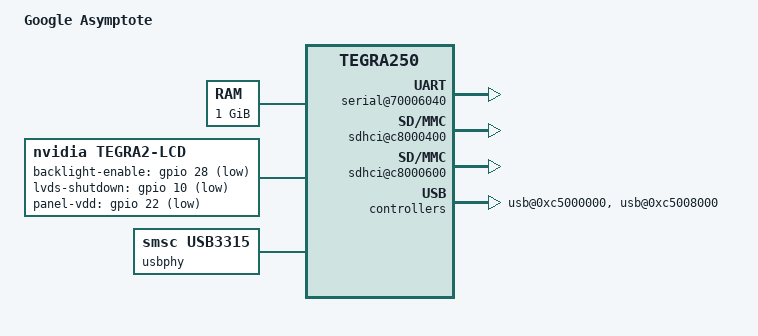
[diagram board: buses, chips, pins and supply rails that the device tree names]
/dts-v1/;

/memreserve/ 0x1c000000 0x04000000;
/include/ "tegra250.dtsi"
/include/ "chromeos.dtsi"
/include/ "flashmap-twostop-4mb.dtsi"

/ {
	model = "Google Asymptote";
	compatible = "google,asymptote", "nvidia,tegra250";

	config {
		odmdata = <0x300d8011>;
		hwid = "ARM ASYMPTOTE TEST 8314";
		machine-arch-id = <3624>;

		/* Chrome OS specific GPIO port number */
		gpio_port_write_protect_switch	= <59>;
		gpio_port_recovery_switch	= <56>;
		gpio_port_developer_switch	= <168>;

		/* GPIO polarity: 0=active_low, 1=active_high */
		polarity_write_protect_switch	= <1>;
		polarity_recovery_switch	= <0>;
		polarity_developer_switch	= <1>;
	};

	aliases {
		console = "/serial@70006040";
                usb0 = "/usb@0xc5008000";
                usb1 = "/usb@0xc5000000";

		sdmmc0 = "/sdhci@c8000600";
		sdmmc1 = "/sdhci@c8000400";

		i2c0 = "/i2c@0x7000d000";
		i2c1 = "/i2c@0x7000c000";
		i2c2 = "/i2c@0x7000c400";
		i2c3 = "/i2c@0x7000c500";
	};

	memory {
		device_type = "memory";
		reg = <0x00000000 0x40000000>;
	};

	serial@70006040 {
		status = "ok";
		clock-frequency = <216000000>;
	};

	sdhci@c8000400 {
		status = "ok";
		width = <4>;	/* width of SDIO port */
		removable = <1>;
		/* Parameter 3 bit 0:1=output, 0=input; bit 1:1=high, 0=low */
		cd-gpio = <&gpio 69 0>; /* card detect, gpio PI5 */
		wp-gpio = <&gpio 57 0>; /* write protect, gpio PH1 */
		power-gpio = <&gpio 70 3>; /* power enable, gpio PI6 */
	};

	sdhci@c8000600 {
		status = "ok";
		width = <4>;	/* width of SDIO port */
		removable = <0>;
	};

	lcd {
		compatible = "nvidia,tegra2-lcd";
		width = <1024>;
		height = <768>;
		bits_per_pixel = <16>;
		pwfm = <&pwfm2>;
		display = <&display1>;
                /* frame-buffer location = top of memory - carveout - fb */
                frame-buffer = <0x2f680000>;

		pixel_clock = <100030000>;

		/* Timing: ref_to_sync, sync_width. back_porch, front_porch */
		horiz_timing = <11 320 480 260>;
		vert_timing = <1 10 6 16>;

		/* Parameter 3 bit 0:1=output, 0=input; bit 1:1=high, 0=low */
		backlight-enable = <&gpio 28 1>;	/* PD4 */
		lvds-shutdown = <&gpio 10 1>;		/* PB2 */
		/* Asymptote does not have backlight-vdd */
		panel-vdd = <&gpio 22 1>;		/* PC6 */

		/*
		 * Panel required timings
		 * Timing 1: delay between panel_vdd-rise and data-rise
		 * Timing 2: delay between data-rise and backlight_vdd-rise
		 * Timing 3: delay between backlight_vdd and pwm-rise
		 * Timing 4: delay between pwm-rise and backlight_en-rise
		 */
		panel-timings = <0 0 0 0>;
	};

	usb@0xc5000000 {
		status = "ok";
		host-mode = <1>;
	};

	usbphy: usbphy@0 {
		compatible = "smsc,usb3315";
		status = "ok";
	};

	usb@0xc5008000 {
		status = "ok";
		utmi = <&usbphy>;
		host-mode = <0>;
	};

	/*
	 * Custom mappings for asymptote (to make up for lack of keyboard):
	 *	- Volume Up -> Ctrl+D
	 *	- Volume Dn -> Ctrl+U
	 *	- Search Bn -> SPACE
	 */
	kbc@0x7000e200 {
		keycode-plain    = [00  00  00  00  00  00  00  00
				    ' ' 00  00  00  00  00  00  00
				    00  00  00  00  00  00  00  00
				    00  00  00  00  00  00  00  00
				    00  00  00  00  00  00  00  00
				    04  00  00  00  00  00  00  00
				    00  00  00  00  00  00  00  00
				    00  00  00  00  00  00  00  00
				    00  00  00  00  00  00  00  00
				    00  00  00  00  00  00  00  00
				    00  00  00  00  00  00  00  00
				    00  15  00  00  00  00  00  00
				    00  00  00  00  00  00  00  00
				    00  00  00  00  00  00  00  00
				    00  00  00  00  00  00  00  00
				    00  00  00  00  00  00  00  00];

		keycode-shift    = [00  00  00  00  00  00  00  00
				    00  00  00  00  00  00  00  00
				    00  00  00  00  00  00  00  00
				    00  00  00  00  00  00  00  00
				    00  00  00  00  00  00  00  00
				    00  00  00  00  00  00  00  00
				    00  00  00  00  00  00  00  00
				    00  00  00  00  00  00  00  00
				    00  00  00  00  00  00  00  00
				    00  00  00  00  00  00  00  00
				    00  00  00  00  00  00  00  00
				    00  00  00  00  00  00  00  00
				    00  00  00  00  00  00  00  00
				    00  00  00  00  00  00  00  00
				    00  00  00  00  00  00  00  00
				    00  00  00  00  00  00  00  00];

		keycode-ctrl     = [00  00  00  00  00  00  00  00
				    00  00  00  00  00  00  00  00
				    00  00  00  00  00  00  00  00
				    00  00  00  00  00  00  00  00
				    00  00  00  00  00  00  00  00
				    00  00  00  00  00  00  00  00
				    00  00  00  00  00  00  00  00
				    00  00  00  00  00  00  00  00
				    00  00  00  00  00  00  00  00
				    00  00  00  00  00  00  00  00
				    00  00  00  00  00  00  00  00
				    00  00  00  00  00  00  00  00
				    00  00  00  00  00  00  00  00
				    00  00  00  00  00  00  00  00
				    00  00  00  00  00  00  00  00
				    00  00  00  00  00  00  00  00];
	};
};
